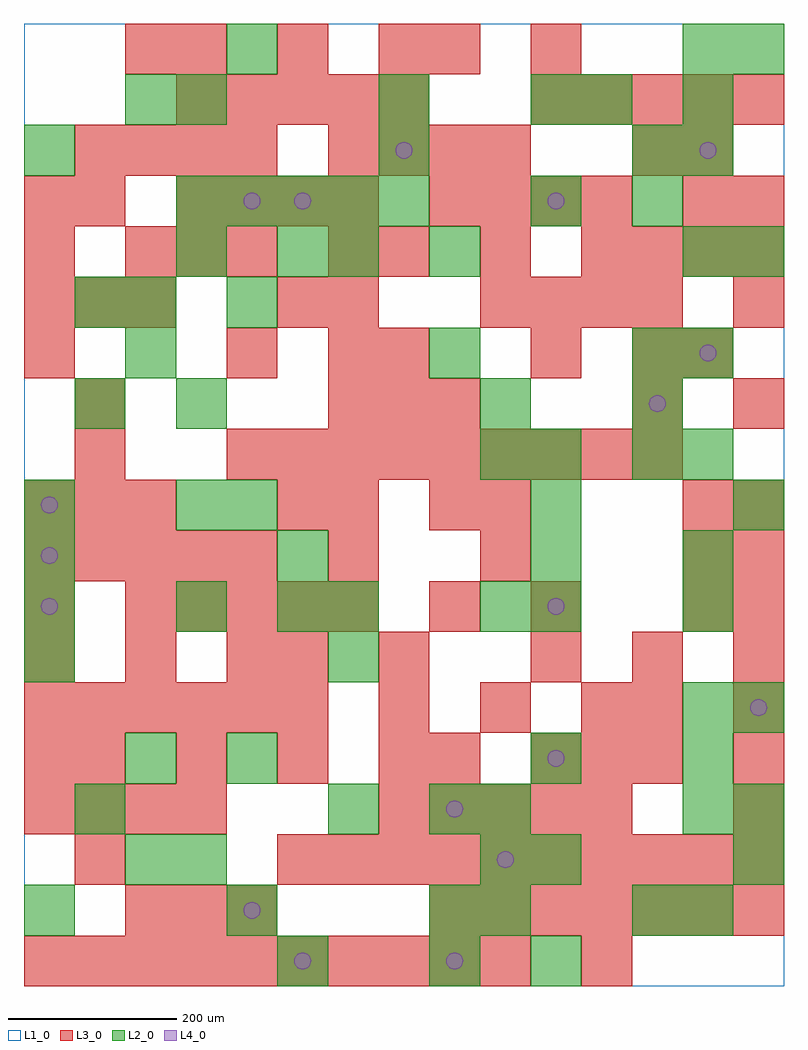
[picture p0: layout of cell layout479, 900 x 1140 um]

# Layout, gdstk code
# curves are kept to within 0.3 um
import gdstk
lib = gdstk.Library(unit=1e-6, precision=1e-09)
def R(c, l, rs):  # rectangles x0, y0, x1, y1
    for r in rs: c.add(gdstk.rectangle(r[:2], r[2:], *l))
def A(c, l, x, y, w, h, nx, ny, dx, dy):  # array of equal rectangles
    R(c, l, [(x+i*dx, y+j*dy, x+i*dx+w, y+j*dy+h) for i in range(nx) for j in range(ny)])
def P(c, l, *ps):  # polygons
    for p in ps: c.add(gdstk.Polygon(p, *l))
L1_0 = (1, 0)
L2_0 = (2, 0)
L3_0 = (3, 0)
L4_0 = (4, 0)

layout479 = lib.new_cell('layout479')
R(layout479, L1_0, [(0,0,900,1140)])
A(layout479, L2_0, 300, 0, 60, 60, 1, 3, 0, 420)
A(layout479, L2_0, 600, 0, 60, 60, 1, 3, 0, 120)
A(layout479, L2_0, 0, 60, 60, 60, 3, 1, 240, 0)
A(layout479, L2_0, 540, 60, 60, 60, 1, 3, 0, 60)
A(layout479, L2_0, 780, 180, 60, 60, 1, 3, 0, 60)
A(layout479, L2_0, 180, 420, 60, 60, 1, 3, 0, 120)
A(layout479, L2_0, 0, 480, 60, 60, 3, 1, 300, 0)
A(layout479, L2_0, 780, 480, 60, 60, 1, 5, 0, 120)
A(layout479, L2_0, 720, 600, 60, 60, 1, 3, 0, 60)
A(layout479, L2_0, 180, 900, 60, 60, 5, 1, 60, 0)
R(layout479, L2_0, [(480,0,540,60), (720,60,780,120), (780,60,840,120), (120,120,180,180), (180,120,240,180), (840,120,900,180), (60,180,120,240), (360,180,420,240), (480,180,540,240), (840,180,900,240), (120,240,180,300), (240,240,300,300), (840,300,900,360), (0,360,60,420), (360,360,420,420), (0,420,60,480), (360,420,420,480), (540,420,600,480), (600,420,660,480), (780,420,840,480), (0,540,60,600), (240,540,300,600), (600,540,660,600), (840,540,900,600), (540,600,600,660), (600,600,660,660), (60,660,120,720), (540,660,600,720), (120,720,180,780), (480,720,540,780), (60,780,120,840), (120,780,180,840), (240,780,300,840), (180,840,240,900), (360,840,420,900), (480,840,540,900), (840,840,900,900), (600,900,660,960), (720,900,780,960), (0,960,60,1020), (420,960,480,1020), (720,960,780,1020), (120,1020,180,1080), (180,1020,240,1080), (420,1020,480,1080), (600,1020,660,1080), (660,1020,720,1080), (780,1020,840,1080), (240,1080,300,1140), (780,1080,840,1140), (840,1080,900,1140)])
A(layout479, L3_0, 0, 0, 60, 60, 10, 1, 60, 0)
A(layout479, L3_0, 120, 60, 60, 60, 3, 2, 60, 780)
A(layout479, L3_0, 480, 60, 60, 60, 7, 1, 60, 0)
A(layout479, L3_0, 300, 120, 60, 60, 10, 1, 60, 0)
A(layout479, L3_0, 0, 180, 60, 60, 4, 1, 60, 0)
A(layout479, L3_0, 420, 180, 60, 60, 5, 1, 60, 0)
A(layout479, L3_0, 840, 180, 60, 60, 1, 3, 0, 60)
A(layout479, L3_0, 60, 240, 60, 60, 4, 1, 120, 0)
A(layout479, L3_0, 600, 240, 60, 60, 3, 1, 60, 0)
A(layout479, L3_0, 0, 300, 60, 60, 6, 1, 60, 0)
A(layout479, L3_0, 420, 300, 60, 60, 3, 2, 120, 540)
A(layout479, L3_0, 0, 360, 60, 60, 3, 1, 120, 0)
A(layout479, L3_0, 600, 360, 60, 60, 3, 1, 120, 0)
A(layout479, L3_0, 120, 420, 60, 60, 5, 1, 60, 0)
A(layout479, L3_0, 780, 420, 60, 60, 1, 3, 0, 60)
A(layout479, L3_0, 840, 420, 60, 60, 1, 3, 0, 60)
A(layout479, L3_0, 0, 480, 60, 60, 5, 1, 60, 0)
A(layout479, L3_0, 0, 540, 60, 60, 3, 2, 60, 240)
A(layout479, L3_0, 240, 600, 60, 60, 9, 1, 60, 0)
A(layout479, L3_0, 360, 660, 60, 60, 3, 1, 60, 0)
A(layout479, L3_0, 840, 660, 60, 60, 1, 3, 0, 120)
A(layout479, L3_0, 360, 720, 60, 60, 1, 3, 0, 60)
A(layout479, L3_0, 540, 780, 60, 60, 4, 1, 60, 0)
A(layout479, L3_0, 720, 840, 60, 60, 3, 1, 60, 0)
A(layout479, L3_0, 180, 900, 60, 60, 4, 1, 60, 0)
A(layout479, L3_0, 480, 900, 60, 60, 4, 1, 60, 0)
A(layout479, L3_0, 60, 960, 60, 60, 4, 1, 60, 0)
A(layout479, L3_0, 360, 960, 60, 60, 4, 1, 60, 0)
A(layout479, L3_0, 180, 1020, 60, 60, 5, 1, 60, 0)
A(layout479, L3_0, 600, 1020, 60, 60, 5, 1, 60, 0)
A(layout479, L3_0, 180, 1080, 60, 60, 3, 1, 120, 0)
R(layout479, L3_0, [(660,0,720,60), (60,120,120,180), (0,240,60,300), (480,240,540,300), (720,300,780,360), (300,360,360,420), (420,360,480,420), (0,420,60,480), (480,420,540,480), (600,420,660,480), (360,480,420,540), (540,480,600,540), (300,540,360,600), (360,540,420,600), (480,540,540,600), (540,540,600,600), (60,600,120,660), (60,660,120,720), (720,660,780,720), (0,720,60,780), (240,720,300,780), (420,720,480,780), (600,720,660,780), (720,720,780,780), (780,720,840,780), (300,780,360,840), (0,840,60,900), (0,900,60,960), (60,900,120,960), (780,900,840,960), (720,960,780,1020), (780,960,840,1020), (120,1080,180,1140), (480,1080,540,1140), (600,1080,660,1140)])
P(layout479, L4_0, [(40,450),(39.239,453.827),(37.071,457.071),(33.827,459.239),(30,460),(26.173,459.239),(22.929,457.071),(20.761,453.827),(20,450),(20.761,446.173),(22.929,442.929),(26.173,440.761),(30,440),(33.827,440.761),(37.071,442.929),(39.239,446.173)],
  [(40,510),(39.239,513.827),(37.071,517.071),(33.827,519.239),(30,520),(26.173,519.239),(22.929,517.071),(20.761,513.827),(20,510),(20.761,506.173),(22.929,502.929),(26.173,500.761),(30,500),(33.827,500.761),(37.071,502.929),(39.239,506.173)],
  [(40,570),(39.239,573.827),(37.071,577.071),(33.827,579.239),(30,580),(26.173,579.239),(22.929,577.071),(20.761,573.827),(20,570),(20.761,566.173),(22.929,562.929),(26.173,560.761),(30,560),(33.827,560.761),(37.071,562.929),(39.239,566.173)],
  [(280,90),(279.239,93.827),(277.071,97.071),(273.827,99.239),(270,100),(266.173,99.239),(262.929,97.071),(260.761,93.827),(260,90),(260.761,86.173),(262.929,82.929),(266.173,80.761),(270,80),(273.827,80.761),(277.071,82.929),(279.239,86.173)],
  [(280,930),(279.239,933.827),(277.071,937.071),(273.827,939.239),(270,940),(266.173,939.239),(262.929,937.071),(260.761,933.827),(260,930),(260.761,926.173),(262.929,922.929),(266.173,920.761),(270,920),(273.827,920.761),(277.071,922.929),(279.239,926.173)],
  [(340,30),(339.239,33.827),(337.071,37.071),(333.827,39.239),(330,40),(326.173,39.239),(322.929,37.071),(320.761,33.827),(320,30),(320.761,26.173),(322.929,22.929),(326.173,20.761),(330,20),(333.827,20.761),(337.071,22.929),(339.239,26.173)],
  [(340,930),(339.239,933.827),(337.071,937.071),(333.827,939.239),(330,940),(326.173,939.239),(322.929,937.071),(320.761,933.827),(320,930),(320.761,926.173),(322.929,922.929),(326.173,920.761),(330,920),(333.827,920.761),(337.071,922.929),(339.239,926.173)],
  [(460,990),(459.239,993.827),(457.071,997.071),(453.827,999.239),(450,1000),(446.173,999.239),(442.929,997.071),(440.761,993.827),(440,990),(440.761,986.173),(442.929,982.929),(446.173,980.761),(450,980),(453.827,980.761),(457.071,982.929),(459.239,986.173)],
  [(520,30),(519.239,33.827),(517.071,37.071),(513.827,39.239),(510,40),(506.173,39.239),(502.929,37.071),(500.761,33.827),(500,30),(500.761,26.173),(502.929,22.929),(506.173,20.761),(510,20),(513.827,20.761),(517.071,22.929),(519.239,26.173)],
  [(520,210),(519.239,213.827),(517.071,217.071),(513.827,219.239),(510,220),(506.173,219.239),(502.929,217.071),(500.761,213.827),(500,210),(500.761,206.173),(502.929,202.929),(506.173,200.761),(510,200),(513.827,200.761),(517.071,202.929),(519.239,206.173)],
  [(580,150),(579.239,153.827),(577.071,157.071),(573.827,159.239),(570,160),(566.173,159.239),(562.929,157.071),(560.761,153.827),(560,150),(560.761,146.173),(562.929,142.929),(566.173,140.761),(570,140),(573.827,140.761),(577.071,142.929),(579.239,146.173)],
  [(640,270),(639.239,273.827),(637.071,277.071),(633.827,279.239),(630,280),(626.173,279.239),(622.929,277.071),(620.761,273.827),(620,270),(620.761,266.173),(622.929,262.929),(626.173,260.761),(630,260),(633.827,260.761),(637.071,262.929),(639.239,266.173)],
  [(640,450),(639.239,453.827),(637.071,457.071),(633.827,459.239),(630,460),(626.173,459.239),(622.929,457.071),(620.761,453.827),(620,450),(620.761,446.173),(622.929,442.929),(626.173,440.761),(630,440),(633.827,440.761),(637.071,442.929),(639.239,446.173)],
  [(640,930),(639.239,933.827),(637.071,937.071),(633.827,939.239),(630,940),(626.173,939.239),(622.929,937.071),(620.761,933.827),(620,930),(620.761,926.173),(622.929,922.929),(626.173,920.761),(630,920),(633.827,920.761),(637.071,922.929),(639.239,926.173)],
  [(760,690),(759.239,693.827),(757.071,697.071),(753.827,699.239),(750,700),(746.173,699.239),(742.929,697.071),(740.761,693.827),(740,690),(740.761,686.173),(742.929,682.929),(746.173,680.761),(750,680),(753.827,680.761),(757.071,682.929),(759.239,686.173)],
  [(820,750),(819.239,753.827),(817.071,757.071),(813.827,759.239),(810,760),(806.173,759.239),(802.929,757.071),(800.761,753.827),(800,750),(800.761,746.173),(802.929,742.929),(806.173,740.761),(810,740),(813.827,740.761),(817.071,742.929),(819.239,746.173)],
  [(820,990),(819.239,993.827),(817.071,997.071),(813.827,999.239),(810,1000),(806.173,999.239),(802.929,997.071),(800.761,993.827),(800,990),(800.761,986.173),(802.929,982.929),(806.173,980.761),(810,980),(813.827,980.761),(817.071,982.929),(819.239,986.173)],
  [(880,330),(879.239,333.827),(877.071,337.071),(873.827,339.239),(870,340),(866.173,339.239),(862.929,337.071),(860.761,333.827),(860,330),(860.761,326.173),(862.929,322.929),(866.173,320.761),(870,320),(873.827,320.761),(877.071,322.929),(879.239,326.173)])

lib.write_gds('layout479.gds')
